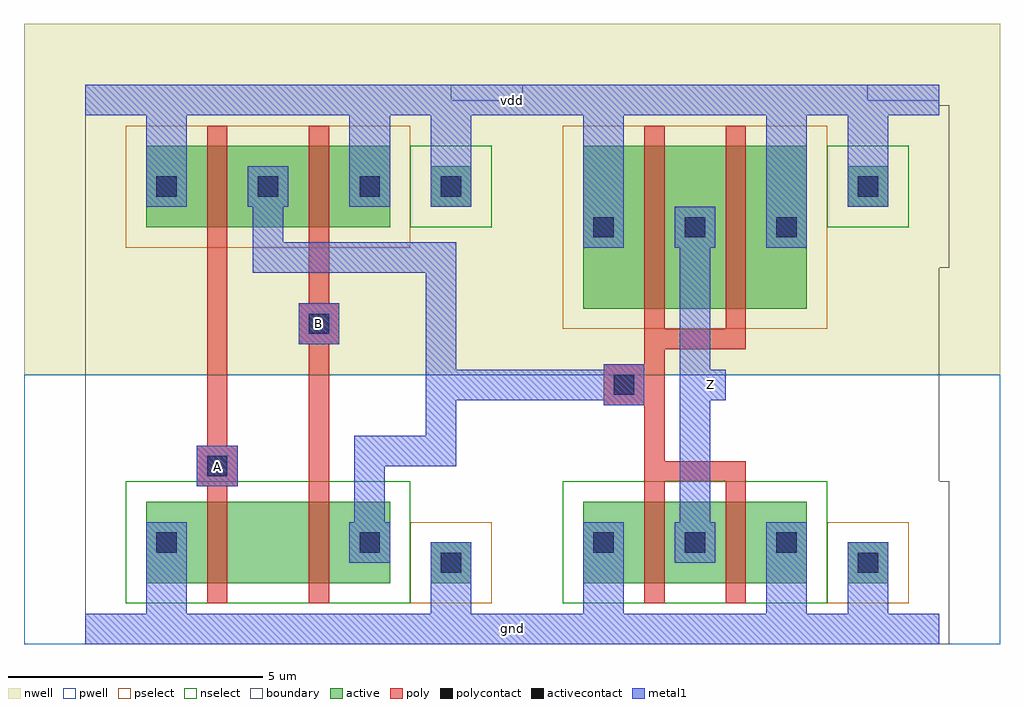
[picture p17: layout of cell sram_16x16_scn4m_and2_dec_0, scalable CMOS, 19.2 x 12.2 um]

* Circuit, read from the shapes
.subckt sram_16x16_scn4m_and2_dec_0 A B Z gnd vdd
M1 sram_16x16_scn4m_pnand2_0/sram_16x16_scn4m_nmos_m1_w1_600_sm1_dactive_2/D A gnd gnd nfet w=1.6u l=0.4u
M2 sram_16x16_scn4m_pinv_0_1/A B sram_16x16_scn4m_pnand2_0/sram_16x16_scn4m_nmos_m1_w1_600_sm1_dactive_2/D gnd nfet w=1.6u l=0.4u
M3 Z sram_16x16_scn4m_pinv_0_1/A gnd gnd nfet w=1.6u l=0.4u m=2
M4 sram_16x16_scn4m_pinv_0_1/A A vdd vdd pfet w=1.6u l=0.4u
M5 vdd B sram_16x16_scn4m_pinv_0_1/A vdd pfet w=1.6u l=0.4u
M6 Z sram_16x16_scn4m_pinv_0_1/A vdd vdd pfet w=3.2u l=0.4u m=2
.ends

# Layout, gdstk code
import gdstk
lib = gdstk.Library(unit=1e-6, precision=1e-09)
def R(c, l, rs):  # rectangles x0, y0, x1, y1
    for r in rs: c.add(gdstk.rectangle(r[:2], r[2:], *l))
def A(c, l, x, y, w, h, nx, ny, dx, dy):  # array of equal rectangles
    R(c, l, [(x+i*dx, y+j*dy, x+i*dx+w, y+j*dy+h) for i in range(nx) for j in range(ny)])
pwell = (41, 0)
nwell = (42, 0)
active = (43, 0)
pselect = (44, 0)
nselect = (45, 0)
poly = (46, 0)
polycontact = (47, 0)
activecontact = (48, 0)
metal1 = (49, 0)
boundary = (63, 0)

sram_16x16_scn4m_contact = lib.new_cell('sram_16x16_scn4m_contact_12')
R(sram_16x16_scn4m_contact, nwell, [(-1.2,-1.2,2,2)])
R(sram_16x16_scn4m_contact, active, [(0,0,0.8,0.8)])
R(sram_16x16_scn4m_contact, pselect, [(-0.4,-0.4,1.2,1.2)])
R(sram_16x16_scn4m_contact, activecontact, [(0.2,0.2,0.6,0.6)])
R(sram_16x16_scn4m_contact, metal1, [(0,0,0.8,0.8)])
R(sram_16x16_scn4m_contact, boundary, [(-1.2,-1.2,2,2)])

sram_16x16_scn4m_pmos_m1 = lib.new_cell('sram_16x16_scn4m_pmos_m1_w1_600_sm1_dm1')
R(sram_16x16_scn4m_pmos_m1, nwell, [(-1.2,-1.2,4,2.8)])
R(sram_16x16_scn4m_pmos_m1, active, [(0,0,2.8,1.6)])
R(sram_16x16_scn4m_pmos_m1, pselect, [(-0.4,-0.4,3.2,2)])
R(sram_16x16_scn4m_pmos_m1, poly, [(1.2,-0.4,1.6,2), (1.2,-0.4,1.6,2)])
R(sram_16x16_scn4m_pmos_m1, metal1, [(0,0.4,0.8,1.2), (2,0.4,2.8,1.2)])
R(sram_16x16_scn4m_pmos_m1, boundary, [(-1.2,-1.2,4,2.8)])
sram_16x16_scn4m_pmos_m1.add(gdstk.Reference(sram_16x16_scn4m_contact, (0,0.4)))
sram_16x16_scn4m_pmos_m1.add(gdstk.Reference(sram_16x16_scn4m_contact, (2,0.4)))
sram_16x16_scn4m_pmos_m1.add(gdstk.Label('G', (1.4,0.8), layer=46, texttype=0))
sram_16x16_scn4m_pmos_m1.add(gdstk.Label('S', (0.4,0.8), layer=49, texttype=0))
sram_16x16_scn4m_pmos_m1.add(gdstk.Label('D', (2.4,0.8), layer=49, texttype=0))

c_sram_16x16_scn4m_contact = lib.new_cell('sram_16x16_scn4m_contact_11')
R(c_sram_16x16_scn4m_contact, pwell, [(-1.2,-1.2,2,2)])
R(c_sram_16x16_scn4m_contact, active, [(0,0,0.8,0.8)])
R(c_sram_16x16_scn4m_contact, nselect, [(-0.4,-0.4,1.2,1.2)])
R(c_sram_16x16_scn4m_contact, activecontact, [(0.2,0.2,0.6,0.6)])
R(c_sram_16x16_scn4m_contact, metal1, [(0,0,0.8,0.8)])
R(c_sram_16x16_scn4m_contact, boundary, [(-1.2,-1.2,2,2)])

sram_16x16_scn4m_nmos_m1 = lib.new_cell('sram_16x16_scn4m_nmos_m1_w1_600_sm1_dactive')
R(sram_16x16_scn4m_nmos_m1, pwell, [(-1.2,-1.2,4,2.8)])
R(sram_16x16_scn4m_nmos_m1, active, [(0,0,2.8,1.6), (2.1,0.5,2.7,1.1)])
R(sram_16x16_scn4m_nmos_m1, nselect, [(-0.4,-0.4,3.2,2)])
R(sram_16x16_scn4m_nmos_m1, poly, [(1.2,-0.4,1.6,2), (1.2,-0.4,1.6,2)])
R(sram_16x16_scn4m_nmos_m1, metal1, [(0,0.4,0.8,1.2)])
R(sram_16x16_scn4m_nmos_m1, boundary, [(-1.2,-1.2,4,2.8)])
sram_16x16_scn4m_nmos_m1.add(gdstk.Reference(c_sram_16x16_scn4m_contact, (0,0.4)))
sram_16x16_scn4m_nmos_m1.add(gdstk.Label('G', (1.4,0.8), layer=46, texttype=0))
sram_16x16_scn4m_nmos_m1.add(gdstk.Label('S', (0.4,0.8), layer=49, texttype=0))
sram_16x16_scn4m_nmos_m1.add(gdstk.Label('D', (2.4,0.8), layer=43, texttype=0))

c_sram_16x16_scn4m_nmos_m1 = lib.new_cell('sram_16x16_scn4m_nmos_m1_w1_600_sactive_dm1')
R(c_sram_16x16_scn4m_nmos_m1, pwell, [(-1.2,-1.2,4,2.8)])
R(c_sram_16x16_scn4m_nmos_m1, active, [(0,0,2.8,1.6), (0.1,0.5,0.7,1.1)])
R(c_sram_16x16_scn4m_nmos_m1, nselect, [(-0.4,-0.4,3.2,2)])
R(c_sram_16x16_scn4m_nmos_m1, poly, [(1.2,-0.4,1.6,2), (1.2,-0.4,1.6,2)])
R(c_sram_16x16_scn4m_nmos_m1, metal1, [(2,0.4,2.8,1.2)])
R(c_sram_16x16_scn4m_nmos_m1, boundary, [(-1.2,-1.2,4,2.8)])
c_sram_16x16_scn4m_nmos_m1.add(gdstk.Reference(c_sram_16x16_scn4m_contact, (2,0.4)))
c_sram_16x16_scn4m_nmos_m1.add(gdstk.Label('G', (1.4,0.8), layer=46, texttype=0))
c_sram_16x16_scn4m_nmos_m1.add(gdstk.Label('S', (0.4,0.8), layer=43, texttype=0))
c_sram_16x16_scn4m_nmos_m1.add(gdstk.Label('D', (2.4,0.8), layer=49, texttype=0))

c_sram_16x16_scn4m_contact_ = lib.new_cell('sram_16x16_scn4m_contact_13')
R(c_sram_16x16_scn4m_contact_, nwell, [(-1.2,-1.2,2,2)])
R(c_sram_16x16_scn4m_contact_, active, [(0,0,0.8,0.8)])
R(c_sram_16x16_scn4m_contact_, nselect, [(-0.4,-0.4,1.2,1.2)])
R(c_sram_16x16_scn4m_contact_, activecontact, [(0.2,0.2,0.6,0.6)])
R(c_sram_16x16_scn4m_contact_, metal1, [(0,0,0.8,0.8)])
R(c_sram_16x16_scn4m_contact_, boundary, [(-1.2,-1.2,2,2)])

c_sram_16x16_scn4m_contact__ = lib.new_cell('sram_16x16_scn4m_contact_14')
R(c_sram_16x16_scn4m_contact__, pwell, [(-1.2,-1.2,2,2)])
R(c_sram_16x16_scn4m_contact__, active, [(0,0,0.8,0.8)])
R(c_sram_16x16_scn4m_contact__, pselect, [(-0.4,-0.4,1.2,1.2)])
R(c_sram_16x16_scn4m_contact__, activecontact, [(0.2,0.2,0.6,0.6)])
R(c_sram_16x16_scn4m_contact__, metal1, [(0,0,0.8,0.8)])
R(c_sram_16x16_scn4m_contact__, boundary, [(-1.2,-1.2,2,2)])

c_sram_16x16_scn4m_contact___ = lib.new_cell('sram_16x16_scn4m_contact_15')
R(c_sram_16x16_scn4m_contact___, poly, [(0,0,0.8,0.8)])
R(c_sram_16x16_scn4m_contact___, polycontact, [(0.2,0.2,0.6,0.6)])
R(c_sram_16x16_scn4m_contact___, metal1, [(0,0,0.8,0.8)])
R(c_sram_16x16_scn4m_contact___, boundary, [(0,0,0.8,0.8)])

sram_16x16_scn4m_pnand2 = lib.new_cell('sram_16x16_scn4m_pnand2')
R(sram_16x16_scn4m_pnand2, pwell, [(-1.2,-0.3,9.8,5)])
R(sram_16x16_scn4m_pnand2, nwell, [(-1.2,5,9.8,11.9)])
R(sram_16x16_scn4m_pnand2, poly, [(2.4,2.8,2.6,3.6), (2.4,2.9,2.8,7.5), (4.4,2.9,4.8,7.5), (4.4,5.6,4.6,6.4)])
R(sram_16x16_scn4m_pnand2, metal1, [(0,-0.3,8.6,0.3), (1.2,-0.3,2,1.3), (6.8,0,7.6,1.3), (5.3,2.1,5.9,3.5), (2.2,2.8,3,3.6), (5.3,3.2,5.9,3.8), (5.6,3.2,7,3.8), (6.7,3.2,7.3,3.8), (6.7,3.5,7.3,7.3), (4.2,5.6,5,6.4), (3.3,7,3.9,7.6), (3.6,7,7,7.6), (6.7,7,7.3,7.6), (3.3,7.3,3.9,8.3), (1.2,8.3,2,10.7), (5.2,8.3,6,10.7), (6.8,8.7,7.6,10.4), (0,10.1,8.6,10.7)])
R(sram_16x16_scn4m_pnand2, boundary, [(0,0,8.6,10.4), (0,0,8.6,10.4)])
sram_16x16_scn4m_pnand2.add(gdstk.Reference(sram_16x16_scn4m_pmos_m1, (1.2,7.9)))
sram_16x16_scn4m_pnand2.add(gdstk.Reference(sram_16x16_scn4m_pmos_m1, (3.2,7.9)))
sram_16x16_scn4m_pnand2.add(gdstk.Reference(sram_16x16_scn4m_nmos_m1, (1.2,0.9)))
sram_16x16_scn4m_pnand2.add(gdstk.Reference(c_sram_16x16_scn4m_nmos_m1, (3.2,0.9)))
sram_16x16_scn4m_pnand2.add(gdstk.Reference(c_sram_16x16_scn4m_contact_, (6.8,8.3)))
sram_16x16_scn4m_pnand2.add(gdstk.Reference(c_sram_16x16_scn4m_contact__, (6.8,0.9)))
sram_16x16_scn4m_pnand2.add(gdstk.Reference(c_sram_16x16_scn4m_contact___, (2.2,2.8)))
sram_16x16_scn4m_pnand2.add(gdstk.Reference(c_sram_16x16_scn4m_contact___, (4.2,5.6)))
sram_16x16_scn4m_pnand2.add(gdstk.Label('Z', (7,7.3), layer=49, texttype=0))
sram_16x16_scn4m_pnand2.add(gdstk.Label('gnd', (4.3,0), layer=49, texttype=0))
sram_16x16_scn4m_pnand2.add(gdstk.Label('vdd', (4.3,10.4), layer=49, texttype=0))
sram_16x16_scn4m_pnand2.add(gdstk.Label('A', (2.6,3.2), layer=49, texttype=0))
sram_16x16_scn4m_pnand2.add(gdstk.Label('B', (4.6,6), layer=49, texttype=0))

sram_16x16_scn4m_pmos_m2 = lib.new_cell('sram_16x16_scn4m_pmos_m2_w3_200_sm1_dm1_da_p')
R(sram_16x16_scn4m_pmos_m2, nwell, [(-1.2,-1.2,5.6,4.4)])
R(sram_16x16_scn4m_pmos_m2, active, [(0,0,4.4,3.2)])
R(sram_16x16_scn4m_pmos_m2, pselect, [(-0.4,-0.4,4.8,3.6)])
R(sram_16x16_scn4m_pmos_m2, poly, [(1.2,-0.8,3.2,-0.4), (1.2,-0.4,1.6,3.6), (2.8,-0.4,3.2,3.6)])
A(sram_16x16_scn4m_pmos_m2, metal1, 0, 1.2, 0.8, 0.8, 3, 1, 1.8, 0)
R(sram_16x16_scn4m_pmos_m2, boundary, [(-1.2,-1.2,5.6,4.4)])
sram_16x16_scn4m_pmos_m2.add(gdstk.Reference(sram_16x16_scn4m_contact, (0,1.2)))
sram_16x16_scn4m_pmos_m2.add(gdstk.Reference(sram_16x16_scn4m_contact, (1.8,1.2)))
sram_16x16_scn4m_pmos_m2.add(gdstk.Reference(sram_16x16_scn4m_contact, (3.6,1.2)))
sram_16x16_scn4m_pmos_m2.add(gdstk.Label('G', (2.2,-0.6), layer=46, texttype=0))
sram_16x16_scn4m_pmos_m2.add(gdstk.Label('S', (0.4,1.6), layer=49, texttype=0))
sram_16x16_scn4m_pmos_m2.add(gdstk.Label('S', (4,1.6), layer=49, texttype=0))
sram_16x16_scn4m_pmos_m2.add(gdstk.Label('D', (2.2,1.6), layer=49, texttype=0))

sram_16x16_scn4m_nmos_m2 = lib.new_cell('sram_16x16_scn4m_nmos_m2_w1_600_sm1_dm1_da_p')
R(sram_16x16_scn4m_nmos_m2, pwell, [(-1.2,-1.2,5.6,2.8)])
R(sram_16x16_scn4m_nmos_m2, active, [(0,0,4.4,1.6)])
R(sram_16x16_scn4m_nmos_m2, nselect, [(-0.4,-0.4,4.8,2)])
R(sram_16x16_scn4m_nmos_m2, poly, [(1.2,-0.4,1.6,2), (2.8,-0.4,3.2,2), (1.2,2,3.2,2.4)])
A(sram_16x16_scn4m_nmos_m2, metal1, 0, 0.4, 0.8, 0.8, 3, 1, 1.8, 0)
R(sram_16x16_scn4m_nmos_m2, boundary, [(-1.2,-1.2,5.6,2.8)])
sram_16x16_scn4m_nmos_m2.add(gdstk.Reference(c_sram_16x16_scn4m_contact, (0,0.4)))
sram_16x16_scn4m_nmos_m2.add(gdstk.Reference(c_sram_16x16_scn4m_contact, (1.8,0.4)))
sram_16x16_scn4m_nmos_m2.add(gdstk.Reference(c_sram_16x16_scn4m_contact, (3.6,0.4)))
sram_16x16_scn4m_nmos_m2.add(gdstk.Label('G', (2.2,2.2), layer=46, texttype=0))
sram_16x16_scn4m_nmos_m2.add(gdstk.Label('S', (4,0.8), layer=49, texttype=0))
sram_16x16_scn4m_nmos_m2.add(gdstk.Label('S', (0.4,0.8), layer=49, texttype=0))
sram_16x16_scn4m_nmos_m2.add(gdstk.Label('D', (2.2,0.8), layer=49, texttype=0))

sram_16x16_scn4m_pinv_0 = lib.new_cell('sram_16x16_scn4m_pinv_0')
R(sram_16x16_scn4m_pinv_0, pwell, [(-1.2,-0.3,9.4,5)])
R(sram_16x16_scn4m_pinv_0, nwell, [(-1.2,5,9.4,11.9)])
R(sram_16x16_scn4m_pinv_0, poly, [(2.4,3.3,2.8,5.5), (2,4.4,2.4,5.2)])
R(sram_16x16_scn4m_pinv_0, metal1, [(0,-0.3,8.2,0.3), (1.2,-0.3,2,1.3), (4.8,-0.3,5.6,1.3), (6.4,0,7.2,1.3), (3.1,1.3,3.7,8.3), (1.6,4.4,2.4,5.2), (3.4,4.5,4,5.1), (1.2,7.5,2,10.7), (4.8,7.5,5.6,10.7), (6.4,8.7,7.2,10.4), (0,10.1,8.2,10.7)])
R(sram_16x16_scn4m_pinv_0, boundary, [(0,0,8.2,10.4), (0,0,8.2,10.4)])
sram_16x16_scn4m_pinv_0.add(gdstk.Reference(sram_16x16_scn4m_pmos_m2, (1.2,6.3)))
sram_16x16_scn4m_pinv_0.add(gdstk.Reference(sram_16x16_scn4m_nmos_m2, (1.2,0.9)))
sram_16x16_scn4m_pinv_0.add(gdstk.Reference(c_sram_16x16_scn4m_contact_, (6.4,8.3)))
sram_16x16_scn4m_pinv_0.add(gdstk.Reference(c_sram_16x16_scn4m_contact__, (6.4,0.9)))
sram_16x16_scn4m_pinv_0.add(gdstk.Reference(c_sram_16x16_scn4m_contact___, (1.6,4.4)))
sram_16x16_scn4m_pinv_0.add(gdstk.Label('A', (2,4.8), layer=49, texttype=0))
sram_16x16_scn4m_pinv_0.add(gdstk.Label('Z', (3.7,4.8), layer=49, texttype=0))
sram_16x16_scn4m_pinv_0.add(gdstk.Label('gnd', (4.1,0), layer=49, texttype=0))
sram_16x16_scn4m_pinv_0.add(gdstk.Label('vdd', (4.1,10.4), layer=49, texttype=0))

sram_16x16_scn4m_and2_de = lib.new_cell('sram_16x16_scn4m_and2_dec_0')
R(sram_16x16_scn4m_and2_de, metal1, [(0,-0.3,16.8,0.3), (2.2,2.8,3,3.6), (6.7,4.5,7.3,5.1), (7,4.5,10.6,5.1), (12,4.5,12.6,5.1), (6.7,4.8,7.3,7.3), (4.2,5.6,5,6.4), (0,10.1,16.8,10.7)])
R(sram_16x16_scn4m_and2_de, boundary, [(0,0,16.8,10.4)])
sram_16x16_scn4m_and2_de.add(gdstk.Reference(sram_16x16_scn4m_pnand2, (0,0)))
sram_16x16_scn4m_and2_de.add(gdstk.Reference(sram_16x16_scn4m_pinv_0, (8.6,0)))
sram_16x16_scn4m_and2_de.add(gdstk.Label('Z', (12.3,4.8), layer=49, texttype=0))
sram_16x16_scn4m_and2_de.add(gdstk.Label('A', (2.6,3.2), layer=49, texttype=0))
sram_16x16_scn4m_and2_de.add(gdstk.Label('B', (4.6,6), layer=49, texttype=0))
sram_16x16_scn4m_and2_de.add(gdstk.Label('gnd', (8.4,0), layer=49, texttype=0))
sram_16x16_scn4m_and2_de.add(gdstk.Label('vdd', (8.4,10.4), layer=49, texttype=0))

lib.write_gds('sram_16x16_scn4m_and2_dec_0.gds')
